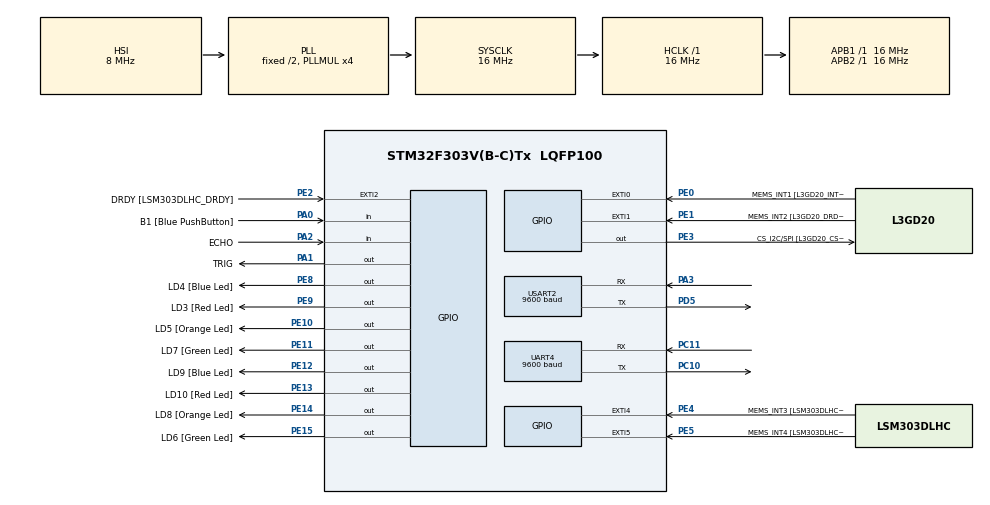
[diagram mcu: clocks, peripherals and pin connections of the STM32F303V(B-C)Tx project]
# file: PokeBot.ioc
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Mcu.Family=STM32F3
Mcu.Name=STM32F303V(B-C)Tx
Mcu.Package=LQFP100
NVIC.PriorityGroup=NVIC_PRIORITYGROUP_0
PA0.GPIO_Label=B1 [Blue PushButton]
PA0.GPIO_Mode=GPIO_MODE_INPUT
PA0.GPIO_PuPd=GPIO_NOPULL
PA0.Signal=GPIO_Input
PA1.GPIO_Label=TRIG
PA1.Signal=GPIO_Output
PA11.GPIO_Label=DM
PA11.Signal=USB_DM
PA12.GPIO_Label=DP
PA12.Signal=USB_DP
PA13.GPIO_Label=SWDIO
PA13.Signal=SYS_JTMS-SWDIO
PA14.GPIO_Label=SWCLK
PA14.Signal=SYS_JTCK-SWCLK
PA2.GPIO_Label=ECHO
PA2.Signal=GPIO_Input
PA3.Mode=Asynchronous
PA3.Signal=USART2_RX
PA5.GPIO_Label=SPI1_SCK [L3GD20_SCL/SPC]
PA5.GPIO_Mode=GPIO_MODE_AF_PP
PA5.GPIO_PuPd=GPIO_NOPULL
PA5.GPIO_Speed=GPIO_SPEED_FREQ_LOW
PA5.Signal=SPI1_SCK
PA6.GPIO_Label=SPI1_MISO [L3GD20_SA0/SDO]
PA6.GPIO_Mode=GPIO_MODE_AF_PP
PA6.GPIO_PuPd=GPIO_NOPULL
PA6.GPIO_Speed=GPIO_SPEED_FREQ_LOW
PA6.Signal=SPI1_MISO
PA7.GPIO_Label=SPI1_MISO [L3GD20_SDA/SDI/SDO]
PA7.GPIO_Mode=GPIO_MODE_AF_PP
PA7.GPIO_PuPd=GPIO_NOPULL
PA7.GPIO_Speed=GPIO_SPEED_FREQ_LOW
PA7.Signal=SPI1_MOSI
PB3.GPIO_Label=SWO
PB3.Signal=SYS_JTDO-TRACESWO
PB6.GPIO_FM6=__NULL
PB6.GPIO_Label=I2C1_SCL [LSM303DLHC_SCL]
PB6.GPIO_Mode=GPIO_MODE_AF_OD
PB6.GPIO_PuPd=GPIO_NOPULL
PB6.GPIO_Speed=GPIO_SPEED_FREQ_LOW
PB6.Signal=I2C1_SCL
PB7.GPIO_FM7=__NULL
PB7.GPIO_Label=I2C1_SDA [LSM303DLHC_SDA]
PB7.GPIO_Mode=GPIO_MODE_AF_OD
PB7.GPIO_PuPd=GPIO_NOPULL
PB7.GPIO_Speed=GPIO_SPEED_FREQ_LOW
PB7.Signal=I2C1_SDA
PC10.Mode=Asynchronous
PC10.Signal=UART4_TX
PC11.Mode=Asynchronous
PC11.Signal=UART4_RX
PC14-OSC32_IN.GPIO_Label=OSC32_IN
PC14-OSC32_IN.Signal=RCC_OSC32_IN
PC15-OSC32_OUT.GPIO_Label=OSC32_OUT
PC15-OSC32_OUT.Signal=RCC_OSC32_OUT
PD5.Mode=Asynchronous
PD5.Signal=USART2_TX
PE0.GPIO_Label=MEMS_INT1 [L3GD20_INT1]
PE0.GPIO_ModeDefaultEXTI=GPIO_MODE_EVT_RISING
PE0.GPIO_PuPd=GPIO_NOPULL
PE0.Signal=GPXTI0
PE1.GPIO_Label=MEMS_INT2 [L3GD20_DRDY/INT2]
PE1.GPIO_ModeDefaultEXTI=GPIO_MODE_EVT_RISING
PE1.GPIO_PuPd=GPIO_NOPULL
PE1.Signal=GPXTI1
PE10.GPIO_Label=LD5 [Orange Led]
PE10.GPIO_ModeDefaultOutputPP=GPIO_MODE_OUTPUT_PP
PE10.GPIO_PuPd=GPIO_NOPULL
PE10.GPIO_Speed=GPIO_SPEED_FREQ_LOW
PE10.Signal=GPIO_Output
PE11.GPIO_Label=LD7 [Green Led]
PE11.GPIO_ModeDefaultOutputPP=GPIO_MODE_OUTPUT_PP
PE11.GPIO_PuPd=GPIO_NOPULL
PE11.GPIO_Speed=GPIO_SPEED_FREQ_LOW
PE11.Signal=GPIO_Output
PE12.GPIO_Label=LD9 [Blue Led]
PE12.GPIO_ModeDefaultOutputPP=GPIO_MODE_OUTPUT_PP
PE12.GPIO_PuPd=GPIO_NOPULL
PE12.GPIO_Speed=GPIO_SPEED_FREQ_LOW
PE12.Signal=GPIO_Output
PE13.GPIO_Label=LD10 [Red Led]
PE13.GPIO_ModeDefaultOutputPP=GPIO_MODE_OUTPUT_PP
PE13.GPIO_PuPd=GPIO_NOPULL
PE13.GPIO_Speed=GPIO_SPEED_FREQ_LOW
PE13.Signal=GPIO_Output
PE14.GPIO_Label=LD8 [Orange Led]
PE14.GPIO_ModeDefaultOutputPP=GPIO_MODE_OUTPUT_PP
PE14.GPIO_PuPd=GPIO_NOPULL
PE14.GPIO_Speed=GPIO_SPEED_FREQ_LOW
PE14.Signal=GPIO_Output
PE15.GPIO_Label=LD6 [Green Led]
PE15.GPIO_ModeDefaultOutputPP=GPIO_MODE_OUTPUT_PP
PE15.GPIO_PuPd=GPIO_NOPULL
PE15.GPIO_Speed=GPIO_SPEED_FREQ_LOW
PE15.Signal=GPIO_Output
PE2.GPIO_Label=DRDY [LSM303DLHC_DRDY]
PE2.GPIO_ModeDefaultEXTI=GPIO_MODE_EVT_RISING
PE2.GPIO_PuPd=GPIO_NOPULL
PE2.Signal=GPXTI2
PE3.GPIO_Label=CS_I2C/SPI [L3GD20_CS_I2C/SPI]
PE3.GPIO_ModeDefaultOutputPP=GPIO_MODE_OUTPUT_PP
PE3.GPIO_PuPd=GPIO_NOPULL
PE3.GPIO_Speed=GPIO_SPEED_FREQ_LOW
PE3.Signal=GPIO_Output
PE4.GPIO_Label=MEMS_INT3 [LSM303DLHC_INT1]
PE4.GPIO_ModeDefaultEXTI=GPIO_MODE_EVT_RISING
PE4.GPIO_PuPd=GPIO_NOPULL
PE4.Signal=GPXTI4
PE5.GPIO_Label=MEMS_INT4 [LSM303DLHC_INT2]
PE5.GPIO_ModeDefaultEXTI=GPIO_MODE_EVT_RISING
PE5.GPIO_PuPd=GPIO_NOPULL
PE5.Signal=GPXTI5
PE8.GPIO_Label=LD4 [Blue Led]
PE8.GPIO_ModeDefaultOutputPP=GPIO_MODE_OUTPUT_PP
PE8.GPIO_PuPd=GPIO_NOPULL
PE8.GPIO_Speed=GPIO_SPEED_FREQ_LOW
PE8.Signal=GPIO_Output
PE9.GPIO_Label=LD3 [Red Led]
PE9.GPIO_ModeDefaultOutputPP=GPIO_MODE_OUTPUT_PP
PE9.GPIO_PuPd=GPIO_NOPULL
PE9.GPIO_Speed=GPIO_SPEED_FREQ_LOW
PE9.PinState=GPIO_PIN_RESET
PE9.Signal=GPIO_Output
PF0-OSC_IN.GPIO_Label=OSC_IN
PF0-OSC_IN.Signal=RCC_OSC_IN
PF1-OSC_OUT.GPIO_Label=OSC_OUT
PF1-OSC_OUT.Signal=RCC_OSC_OUT
ProjectManager.HeapSize=0x200
ProjectManager.StackSize=0x400
ProjectManager.TargetToolchain=STM32CubeIDE
RCC.AHBFreq_Value=16000000
RCC.APB1Freq_Value=16000000
RCC.APB1TimFreq_Value=16000000
RCC.APB2Freq_Value=16000000
RCC.APB2TimFreq_Value=16000000
RCC.CortexFreq_Value=16000000
RCC.HCLKFreq_Value=16000000
RCC.HSE_VALUE=8000000
RCC.HSI_VALUE=8000000
RCC.LSE_VALUE=32768
RCC.PLLMUL=RCC_PLL_MUL4
RCC.SYSCLKFreq_VALUE=16000000
RCC.SYSCLKSourceVirtual=RCC_SYSCLKSOURCE_PLLCLK
RCC.USBFreq_Value=16000000
TIM1.AutoReloadPreload=TIM_AUTORELOAD_PRELOAD_ENABLE
TIM1.Period=9999
TIM1.Prescaler=1599
TIM2.Period=65535
TIM2.Prescaler=71
UART4.BaudRate=9600
UART4.OverrunDisableParam=UART_ADVFEATURE_OVERRUN_DISABLE
USART2.BaudRate=9600
USART2.VirtualMode-Asynchronous=VM_ASYNC
VP_TIM1_VS_ClockSourceINT.Mode=Internal
VP_TIM2_VS_ClockSourceINT.Mode=Internal
board=STM32F3DISCOVERY

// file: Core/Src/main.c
/* USER CODE BEGIN Header */
/**
  ******************************************************************************
  * @file           : main.c
  * @brief          : Main program body
  ******************************************************************************
  * @attention
  *
  * <h2><center>&copy; Copyright (c) 2023 STMicroelectronics.
  * All rights reserved.</center></h2>
  *
  * This software component is licensed by ST under BSD 3-Clause license,
  * the "License"; You may not use this file except in compliance with the
  * License. You may obtain a copy of the License at:
  *                        opensource.org/licenses/BSD-3-Clause
  *
  ******************************************************************************
  */
/* USER CODE END Header */
#include "main.h"

/* USER CODE BEGIN Includes */
#include "test.h"
#include <stdio.h>
#include <string.h>
/* USER CODE END Includes */

TIM_HandleTypeDef htim1;
TIM_HandleTypeDef htim2;

UART_HandleTypeDef huart4;
UART_HandleTypeDef huart2;

/* USER CODE BEGIN PV */
float sound_speed = 343.595*100;
/* USER CODE END PV */

void SystemClock_Config(void);
static void MX_GPIO_Init(void);
static void MX_UART4_Init(void);
static void MX_TIM1_Init(void);
static void MX_TIM2_Init(void);
static void MX_USART2_UART_Init(void);

int main(void)
{

  /* MCU Configuration--------------------------------------------------------*/

  /* Reset of all peripherals, Initializes the Flash interface and the Systick. */
  HAL_Init();

  /* Configure the system clock */
  SystemClock_Config();

  /* Initialize all configured peripherals */
  MX_GPIO_Init();
  MX_UART4_Init();
  MX_TIM1_Init();
  MX_TIM2_Init();
  MX_USART2_UART_Init();
  /* USER CODE BEGIN 2 */
  HAL_TIM_Base_Start_IT(&htim1);

  /* USER CODE END 2 */

  /* Infinite loop */
  /* USER CODE BEGIN WHILE */
  //HAL_GPIO_WritePin(LD5_GPIO_Port, LD5_Pin, 1);
  while (1)
  {
	  uint32_t start_time = 0;
	  uint32_t end_time = 0;
	  float elapsed_time = 0;
	  char buffer[50];
	  float distance = 0;

	  HAL_GPIO_WritePin(TRIG_GPIO_Port, TRIG_Pin, GPIO_PIN_SET);
	  HAL_Delay(1); //ms
	  HAL_GPIO_WritePin(TRIG_GPIO_Port, TRIG_Pin, GPIO_PIN_RESET);

	  while (HAL_GPIO_ReadPin(ECHO_GPIO_Port, ECHO_Pin) == GPIO_PIN_RESET);

	  HAL_TIM_Base_Start(&htim2);
	  start_time = __HAL_TIM_GET_COUNTER(&htim2);

	  while (HAL_GPIO_ReadPin(ECHO_GPIO_Port, ECHO_Pin) == GPIO_PIN_SET);

	  end_time = __HAL_TIM_GET_COUNTER(&htim2);
	  elapsed_time = ((float) (end_time - start_time)) / ((float) HAL_RCC_GetPCLK1Freq() * 2);
	  distance = 75 * sound_speed * elapsed_time;

	  sprintf(buffer, "Distance: %f centimeters\n", distance);
	  HAL_UART_Transmit(&huart4, (unsigned char*) buffer, strlen(buffer), HAL_MAX_DELAY);

	//  if (HAL_GPIO_ReadPin(ECHO_GPIO_Port, ECHO_Pin) == GPIO_PIN_SET ){
	//  	HAL_GPIO_WritePin(LD4_GPIO_Port, LD4_Pin, GPIO_PIN_RESET);
	//  	HAL_TIM_Base_Start(&htim2);
	 // 	start_time = __HAL_TIM_GET_COUNTER(&htim2);
	 // 	while(1){
	 // 		if (HAL_GPIO_ReadPin(ECHO_GPIO_Port, ECHO_Pin) == GPIO_PIN_RESET ){
	  //			HAL_GPIO_WritePin(LD4_GPIO_Port, LD4_Pin, GPIO_PIN_SET);
	  //			end_time = __HAL_TIM_GET_COUNTER(&htim2);
	 // 			elapsed_time = ((float) (end_time - start_time)) / ((float) HAL_RCC_GetPCLK1Freq() * 2);
	 // 			distance = sound_speed*elapsed_time;
	 // 			sprintf(buffer, "Distance: %f centimeters\n", distance);
	 // 			start_time = 0;
	 // 			end_time = 0;
	 // 			break;
	 // 		}
	 // 		HAL_Delay(100);
	  //	}
	  //}

	  //HAL_Delay(100);
	  //HAL_UART_Transmit(&huart4, (unsigned char*) buffer, strlen(buffer), HAL_MAX_DELAY);

	  if (distance<10){
		  HAL_GPIO_WritePin(LD3_GPIO_Port, LD3_Pin, GPIO_PIN_SET);
	  }
	  else {
		  HAL_GPIO_WritePin(LD3_GPIO_Port, LD3_Pin, GPIO_PIN_RESET);
	  }
	  HAL_Delay(10);

    /* USER CODE END WHILE */

  }
}

void SystemClock_Config(void)
{
  RCC_OscInitTypeDef RCC_OscInitStruct = {0};
  RCC_ClkInitTypeDef RCC_ClkInitStruct = {0};
  RCC_PeriphCLKInitTypeDef PeriphClkInit = {0};

  /** Initializes the RCC Oscillators according to the specified parameters
  * in the RCC_OscInitTypeDef structure.
  */
  RCC_OscInitStruct.OscillatorType = RCC_OSCILLATORTYPE_HSI;
  RCC_OscInitStruct.HSIState = RCC_HSI_ON;
  RCC_OscInitStruct.HSICalibrationValue = RCC_HSICALIBRATION_DEFAULT;
  RCC_OscInitStruct.PLL.PLLState = RCC_PLL_ON;
  RCC_OscInitStruct.PLL.PLLSource = RCC_PLLSOURCE_HSI;
  RCC_OscInitStruct.PLL.PLLMUL = RCC_PLL_MUL4;
  if (HAL_RCC_OscConfig(&RCC_OscInitStruct) != HAL_OK)
  {
    Error_Handler();
  }
  /** Initializes the CPU, AHB and APB buses clocks
  */
  RCC_ClkInitStruct.ClockType = RCC_CLOCKTYPE_HCLK|RCC_CLOCKTYPE_SYSCLK
                              |RCC_CLOCKTYPE_PCLK1|RCC_CLOCKTYPE_PCLK2;
  RCC_ClkInitStruct.SYSCLKSource = RCC_SYSCLKSOURCE_PLLCLK;
  RCC_ClkInitStruct.AHBCLKDivider = RCC_SYSCLK_DIV1;
  RCC_ClkInitStruct.APB1CLKDivider = RCC_HCLK_DIV1;
  RCC_ClkInitStruct.APB2CLKDivider = RCC_HCLK_DIV1;

  if (HAL_RCC_ClockConfig(&RCC_ClkInitStruct, FLASH_LATENCY_0) != HAL_OK)
  {
    Error_Handler();
  }
  PeriphClkInit.PeriphClockSelection = RCC_PERIPHCLK_USART2|RCC_PERIPHCLK_UART4
                              |RCC_PERIPHCLK_TIM1;
  PeriphClkInit.Usart2ClockSelection = RCC_USART2CLKSOURCE_PCLK1;
  PeriphClkInit.Uart4ClockSelection = RCC_UART4CLKSOURCE_PCLK1;
  PeriphClkInit.Tim1ClockSelection = RCC_TIM1CLK_HCLK;
  if (HAL_RCCEx_PeriphCLKConfig(&PeriphClkInit) != HAL_OK)
  {
    Error_Handler();
  }
}

static void MX_TIM1_Init(void)
{

  TIM_ClockConfigTypeDef sClockSourceConfig = {0};
  TIM_MasterConfigTypeDef sMasterConfig = {0};

  htim1.Instance = TIM1;
  htim1.Init.Prescaler = 1599;
  htim1.Init.CounterMode = TIM_COUNTERMODE_UP;
  htim1.Init.Period = 9999;
  htim1.Init.ClockDivision = TIM_CLOCKDIVISION_DIV1;
  htim1.Init.RepetitionCounter = 0;
  htim1.Init.AutoReloadPreload = TIM_AUTORELOAD_PRELOAD_ENABLE;
  if (HAL_TIM_Base_Init(&htim1) != HAL_OK)
  {
    Error_Handler();
  }
  sClockSourceConfig.ClockSource = TIM_CLOCKSOURCE_INTERNAL;
  if (HAL_TIM_ConfigClockSource(&htim1, &sClockSourceConfig) != HAL_OK)
  {
    Error_Handler();
  }
  sMasterConfig.MasterOutputTrigger = TIM_TRGO_RESET;
  sMasterConfig.MasterOutputTrigger2 = TIM_TRGO2_RESET;
  sMasterConfig.MasterSlaveMode = TIM_MASTERSLAVEMODE_DISABLE;
  if (HAL_TIMEx_MasterConfigSynchronization(&htim1, &sMasterConfig) != HAL_OK)
  {
    Error_Handler();
  }

}

static void MX_TIM2_Init(void)
{

  TIM_ClockConfigTypeDef sClockSourceConfig = {0};
  TIM_MasterConfigTypeDef sMasterConfig = {0};

  htim2.Instance = TIM2;
  htim2.Init.Prescaler = 71;
  htim2.Init.CounterMode = TIM_COUNTERMODE_UP;
  htim2.Init.Period = 65535;
  htim2.Init.ClockDivision = TIM_CLOCKDIVISION_DIV1;
  htim2.Init.AutoReloadPreload = TIM_AUTORELOAD_PRELOAD_DISABLE;
  if (HAL_TIM_Base_Init(&htim2) != HAL_OK)
  {
    Error_Handler();
  }
  sClockSourceConfig.ClockSource = TIM_CLOCKSOURCE_INTERNAL;
  if (HAL_TIM_ConfigClockSource(&htim2, &sClockSourceConfig) != HAL_OK)
  {
    Error_Handler();
  }
  sMasterConfig.MasterOutputTrigger = TIM_TRGO_RESET;
  sMasterConfig.MasterSlaveMode = TIM_MASTERSLAVEMODE_DISABLE;
  if (HAL_TIMEx_MasterConfigSynchronization(&htim2, &sMasterConfig) != HAL_OK)
  {
    Error_Handler();
  }

}

static void MX_UART4_Init(void)
{

  huart4.Instance = UART4;
  huart4.Init.BaudRate = 9600;
  huart4.Init.WordLength = UART_WORDLENGTH_8B;
  huart4.Init.StopBits = UART_STOPBITS_1;
  huart4.Init.Parity = UART_PARITY_NONE;
  huart4.Init.Mode = UART_MODE_TX_RX;
  huart4.Init.HwFlowCtl = UART_HWCONTROL_NONE;
  huart4.Init.OverSampling = UART_OVERSAMPLING_16;
  huart4.Init.OneBitSampling = UART_ONE_BIT_SAMPLE_DISABLE;
  huart4.AdvancedInit.AdvFeatureInit = UART_ADVFEATURE_RXOVERRUNDISABLE_INIT;
  huart4.AdvancedInit.OverrunDisable = UART_ADVFEATURE_OVERRUN_DISABLE;
  if (HAL_UART_Init(&huart4) != HAL_OK)
  {
    Error_Handler();
  }

}

static void MX_USART2_UART_Init(void)
{

  huart2.Instance = USART2;
  huart2.Init.BaudRate = 9600;
  huart2.Init.WordLength = UART_WORDLENGTH_8B;
  huart2.Init.StopBits = UART_STOPBITS_1;
  huart2.Init.Parity = UART_PARITY_NONE;
  huart2.Init.Mode = UART_MODE_TX_RX;
  huart2.Init.HwFlowCtl = UART_HWCONTROL_NONE;
  huart2.Init.OverSampling = UART_OVERSAMPLING_16;
  huart2.Init.OneBitSampling = UART_ONE_BIT_SAMPLE_DISABLE;
  huart2.AdvancedInit.AdvFeatureInit = UART_ADVFEATURE_NO_INIT;
  if (HAL_UART_Init(&huart2) != HAL_OK)
  {
    Error_Handler();
  }

}

static void MX_GPIO_Init(void)
{
  GPIO_InitTypeDef GPIO_InitStruct = {0};

  /* GPIO Ports Clock Enable */
  __HAL_RCC_GPIOE_CLK_ENABLE();
  __HAL_RCC_GPIOC_CLK_ENABLE();
  __HAL_RCC_GPIOF_CLK_ENABLE();
  __HAL_RCC_GPIOA_CLK_ENABLE();
  __HAL_RCC_GPIOD_CLK_ENABLE();
  __HAL_RCC_GPIOB_CLK_ENABLE();

  /*Configure GPIO pin Output Level */
  HAL_GPIO_WritePin(GPIOE, CS_I2C_SPI_Pin|LD4_Pin|LD3_Pin|LD5_Pin
                          |LD7_Pin|LD9_Pin|LD10_Pin|LD8_Pin
                          |LD6_Pin, GPIO_PIN_RESET);

  /*Configure GPIO pin Output Level */
  HAL_GPIO_WritePin(TRIG_GPIO_Port, TRIG_Pin, GPIO_PIN_RESET);

  /*Configure GPIO pins : DRDY_Pin MEMS_INT3_Pin MEMS_INT4_Pin MEMS_INT1_Pin
                           MEMS_INT2_Pin */
  GPIO_InitStruct.Pin = DRDY_Pin|MEMS_INT3_Pin|MEMS_INT4_Pin|MEMS_INT1_Pin
                          |MEMS_INT2_Pin;
  GPIO_InitStruct.Mode = GPIO_MODE_EVT_RISING;
  GPIO_InitStruct.Pull = GPIO_NOPULL;
  HAL_GPIO_Init(GPIOE, &GPIO_InitStruct);

  /*Configure GPIO pins : CS_I2C_SPI_Pin LD4_Pin LD3_Pin LD5_Pin
                           LD7_Pin LD9_Pin LD10_Pin LD8_Pin
                           LD6_Pin */
  GPIO_InitStruct.Pin = CS_I2C_SPI_Pin|LD4_Pin|LD3_Pin|LD5_Pin
                          |LD7_Pin|LD9_Pin|LD10_Pin|LD8_Pin
                          |LD6_Pin;
  GPIO_InitStruct.Mode = GPIO_MODE_OUTPUT_PP;
  GPIO_InitStruct.Pull = GPIO_NOPULL;
  GPIO_InitStruct.Speed = GPIO_SPEED_FREQ_LOW;
  HAL_GPIO_Init(GPIOE, &GPIO_InitStruct);

  /*Configure GPIO pins : B1_Pin ECHO_Pin */
  GPIO_InitStruct.Pin = B1_Pin|ECHO_Pin;
  GPIO_InitStruct.Mode = GPIO_MODE_INPUT;
  GPIO_InitStruct.Pull = GPIO_NOPULL;
  HAL_GPIO_Init(GPIOA, &GPIO_InitStruct);

  /*Configure GPIO pin : TRIG_Pin */
  GPIO_InitStruct.Pin = TRIG_Pin;
  GPIO_InitStruct.Mode = GPIO_MODE_OUTPUT_PP;
  GPIO_InitStruct.Pull = GPIO_NOPULL;
  GPIO_InitStruct.Speed = GPIO_SPEED_FREQ_LOW;
  HAL_GPIO_Init(TRIG_GPIO_Port, &GPIO_InitStruct);

  /*Configure GPIO pins : SPI1_SCK_Pin SPI1_MISO_Pin SPI1_MISOA7_Pin */
  GPIO_InitStruct.Pin = SPI1_SCK_Pin|SPI1_MISO_Pin|SPI1_MISOA7_Pin;
  GPIO_InitStruct.Mode = GPIO_MODE_AF_PP;
  GPIO_InitStruct.Pull = GPIO_NOPULL;
  GPIO_InitStruct.Speed = GPIO_SPEED_FREQ_LOW;
  GPIO_InitStruct.Alternate = GPIO_AF5_SPI1;
  HAL_GPIO_Init(GPIOA, &GPIO_InitStruct);

  /*Configure GPIO pins : DM_Pin DP_Pin */
  GPIO_InitStruct.Pin = DM_Pin|DP_Pin;
  GPIO_InitStruct.Mode = GPIO_MODE_AF_PP;
  GPIO_InitStruct.Pull = GPIO_NOPULL;
  GPIO_InitStruct.Speed = GPIO_SPEED_FREQ_HIGH;
  GPIO_InitStruct.Alternate = GPIO_AF14_USB;
  HAL_GPIO_Init(GPIOA, &GPIO_InitStruct);

  /*Configure GPIO pins : I2C1_SCL_Pin I2C1_SDA_Pin */
  GPIO_InitStruct.Pin = I2C1_SCL_Pin|I2C1_SDA_Pin;
  GPIO_InitStruct.Mode = GPIO_MODE_AF_OD;
  GPIO_InitStruct.Pull = GPIO_PULLUP;
  GPIO_InitStruct.Speed = GPIO_SPEED_FREQ_LOW;
  GPIO_InitStruct.Alternate = GPIO_AF4_I2C1;
  HAL_GPIO_Init(GPIOB, &GPIO_InitStruct);

}

void Error_Handler(void)
{
  __disable_irq();
  while (1)
  {
  }
}

/************************ (C) COPYRIGHT STMicroelectronics *****END OF FILE****/
